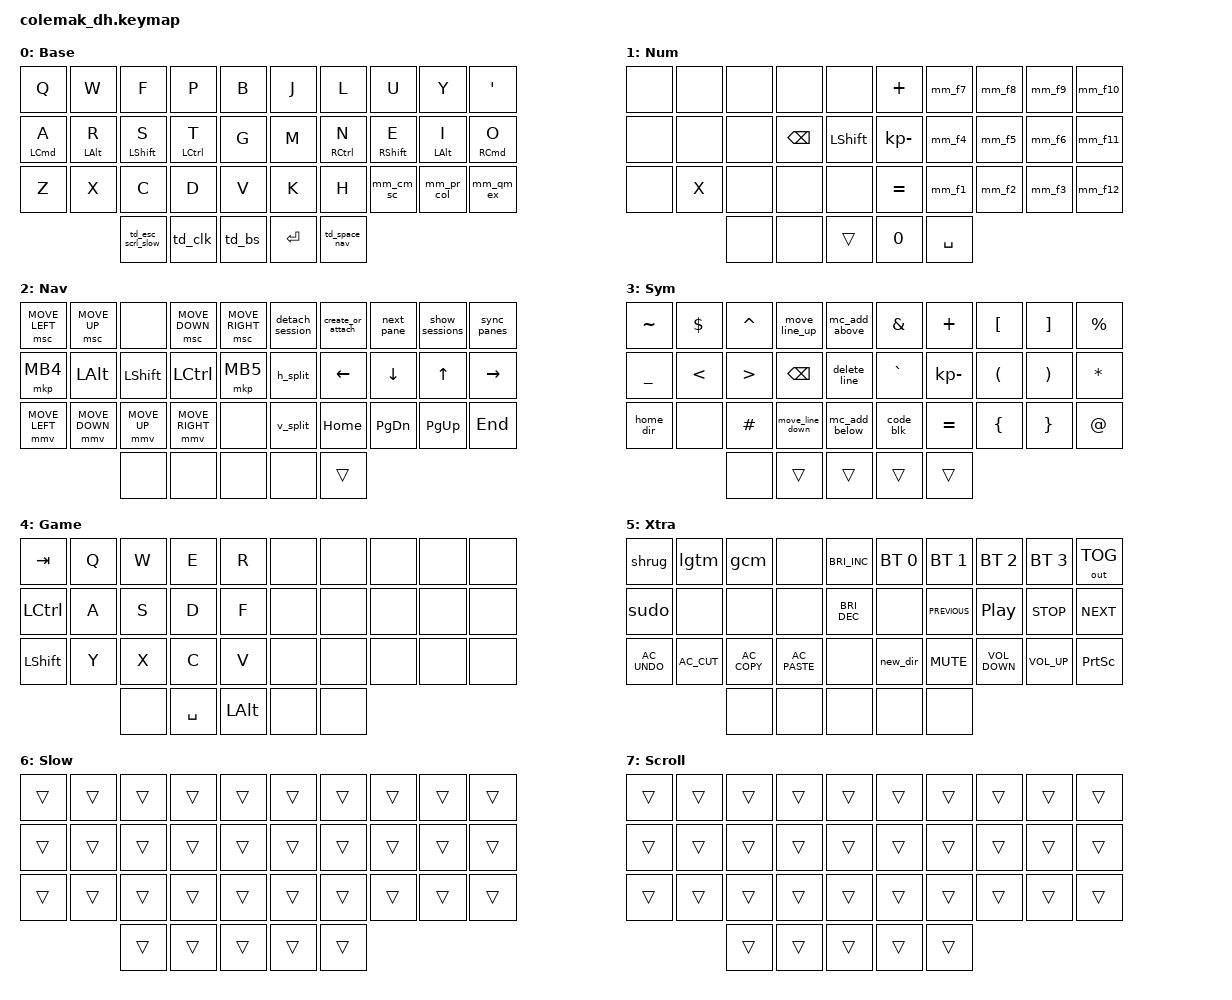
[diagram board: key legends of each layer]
/* upstream bindings and behaviors */
#include <behaviors.dtsi>
#include <dt-bindings/zmk/bt.h>
#include <dt-bindings/zmk/keys.h>
#include <dt-bindings/zmk/mouse.h>
#include <dt-bindings/zmk/outputs.h>
#include <behaviors/mouse_keys.dtsi>
#include <dt-bindings/zmk/ext_power.h>

/* local overlays */
#include "macros.dtsi"
#include "behaviors.dtsi"
#include "combos.dtsi"

/ {
    /* Select 5-column physical layout */
    chosen {
        zmk,physical-layout = &charybdis_5col_physical_layout;
    };

/* --- KEYMAP CONFIG (3x5 + 3|2 thumbs = 35 keys) --- */
// ╭──────┬──────┬──────┬──────┬──────╮  ╭──────┬──────┬──────┬──────┬──────╮
//    00     01     02     03    04          05     06     07     08     09
// ├──────┼──────┼──────┼──────┼──────┤  ├──────┼──────┼──────┼──────┼──────┤
//    10     11     12     13    14          15     16     17     18     19
// ├──────┼──────┼──────┼──────┼──────┤  ├──────┼──────┼──────┼──────┼──────┤
//    20     21     22     23    24          25     26     27     28     29
// ╰──────┴──────┴──────┼──────┼──────┤  ├──────┼──────┼──────┴──────┴──────╯
//                         30     31    32    33     34
//                      ╰──────┴──────┴──────╯╰──────┴──────╯
// #define BASE    0
// #define NUM     1
// #define NAV     2
// #define SYM     3
// #define GAME    4
// #define EXTRAS  5
// #define SLOW    6
// #define SCROLL  7

    keymap {
        compatible = "zmk,keymap";
        BASE {
            display-name = "Base";
            bindings = <
// ╭────────────────┬────────────────┬─────────────────┬─────────────────┬──────╮  ╭──────┬──────────────────┬──────────────────┬─────────────────┬────────────────╮
    &kp Q            &kp W            &kp F             &kp P             &kp B     &kp J  &kp L              &kp U              &kp Y             &kp APOS
// ├────────────────┼────────────────┼─────────────────┼─────────────────┼──────┤  ├──────┼──────────────────┼──────────────────┼─────────────────┼────────────────┤
    &ht_left LCMD A  &ht_left LALT R  &ht_left LSHFT S  &ht_left LCTRL T  &kp G     &kp M  &ht_right RCTRL N  &ht_right RSHFT E  &ht_right LALT I  &ht_right RCMD O
// ├────────────────┼────────────────┼─────────────────┼─────────────────┼──────┤  ├──────┼──────────────────┼──────────────────┼─────────────────┼────────────────┤
    &kp Z            &kp X            &kp C             &kp D             &kp V     &kp K  &kp H              &mm_cm_sc          &mm_pr_col        &mm_qm_ex
// ╰────────────────┴────────────────┼─────────────────┼─────────────────┼──────┤  ├──────┼──────────────────┼──────────────────┴─────────────────┴────────────────╯
                                             &td_esc_scrl_slow   &td_clk  &td_bs     &kp ENTER  &td_space_nav
                                         // ╰──────────────────┴─────────┴──────╯  ╰──────────┴──────────────╯
            >;
        };

        NUM {
            display-name = "Num";
            bindings = <
&none  &none   &none  &none          &none            &kp PLUS     &mm_f7             &mm_f8             &mm_f9             &mm_f10
&none  &none   &none  &kp BACKSPACE  &kp LSHIFT       &kp KP_MINUS &mm_f4             &mm_f5             &mm_f6             &mm_f11
&none  &kp X   &none  &none          &none            &kp EQUAL    &mm_f1             &mm_f2             &mm_f3             &mm_f12
                      &none          &none   &trans   &kp N0       &kp SPACE
            >;
        };

        NAV {
            display-name = "Nav";
            bindings = <
&msc MOVE_LEFT  &msc MOVE_UP    &none        &msc MOVE_DOWN  &msc MOVE_RIGHT     &detach_session  &create_or_attach  &next_pane   &show_sessions  &sync_panes
&mkp MB4        &kp LALT        &kp LSHFT    &kp LCTRL       &mkp MB5            &h_split         &kp LEFT_ARROW     &kp DOWN     &kp UP          &kp RIGHT_ARROW
&mmv MOVE_LEFT  &mmv MOVE_DOWN  &mmv MOVE_UP &mmv MOVE_RIGHT &none               &v_split         &kp HOME           &kp PG_DN    &kp PG_UP       &kp END
                                             &none   &none   &none               &none   &trans
            >;
        };

        SYM {
            display-name = "Sym";
            bindings = <
&kp TILDE  &kp DLLR  &kp CARET  &move_line_up    &mc_add_above      &kp AMPS   &kp PLUS     &kp LBKT  &kp RBKT  &kp PRCNT
&kp UNDER  &kp LT    &kp GT     &kp BACKSPACE    &delete_line       &kp GRAVE  &kp KP_MINUS &kp LPAR  &kp RPAR  &kp ASTRK
&home_dir  &none     &kp HASH   &move_line_down  &mc_add_below      &code_blk  &kp EQUAL    &kp LBRC  &kp RBRC  &kp AT
                                &none  &trans     &trans            &trans   &trans
            >;
        };

        GAME {
            display-name = "Game";
            bindings = <
&kp TAB    &kp Q  &kp W   &kp E      &kp R           &none  &none  &none  &none  &none
&kp LCTRL  &kp A  &kp S   &kp D      &kp F           &none  &none  &none  &none  &none
&kp LSHFT  &kp Y  &kp X   &kp C      &kp V           &none  &none  &none  &none  &none
                          &none   &kp SPACE  &kp LEFT_ALT    &none  &none
            >;
        };

        EXTRAS {
            display-name = "Xtra";
            bindings = <
&shrug          &lgtm           &gcm            &none           &kp C_BRIGHTNESS_INC    &bt BT_SEL 0  &bt BT_SEL 1    &bt BT_SEL 2       &bt BT_SEL 3  &out OUT_TOG
&sudo           &none           &none           &none           &kp C_BRIGHTNESS_DEC    &none         &kp C_PREVIOUS  &kp C_PLAY_PAUSE   &kp C_STOP    &kp C_NEXT
&kp C_AC_UNDO   &kp C_AC_CUT    &kp C_AC_COPY   &kp C_AC_PASTE  &none                   &new_dir      &kp K_MUTE      &kp C_VOLUME_DOWN  &kp C_VOLUME_UP   &kp PRINTSCREEN
                                                                 &none  &none  &none    &none         &none
            >;
        };

        SLOW {
            display-name = "Slow";
            bindings = <
&trans    &trans    &trans    &trans    &trans    &trans    &trans    &trans    &trans    &trans
&trans    &trans    &trans    &trans    &trans    &trans    &trans    &trans    &trans    &trans
&trans    &trans    &trans    &trans    &trans    &trans    &trans    &trans    &trans    &trans
                              &trans    &trans    &trans    &trans    &trans
            >;
        };

        SCROLL {
            display-name = "Scroll";
            bindings = <
&trans    &trans    &trans    &trans    &trans    &trans    &trans    &trans    &trans    &trans
&trans    &trans    &trans    &trans    &trans    &trans    &trans    &trans    &trans    &trans
&trans    &trans    &trans    &trans    &trans    &trans    &trans    &trans    &trans    &trans
                              &trans    &trans    &trans    &trans    &trans
            >;
        };
    };
};
